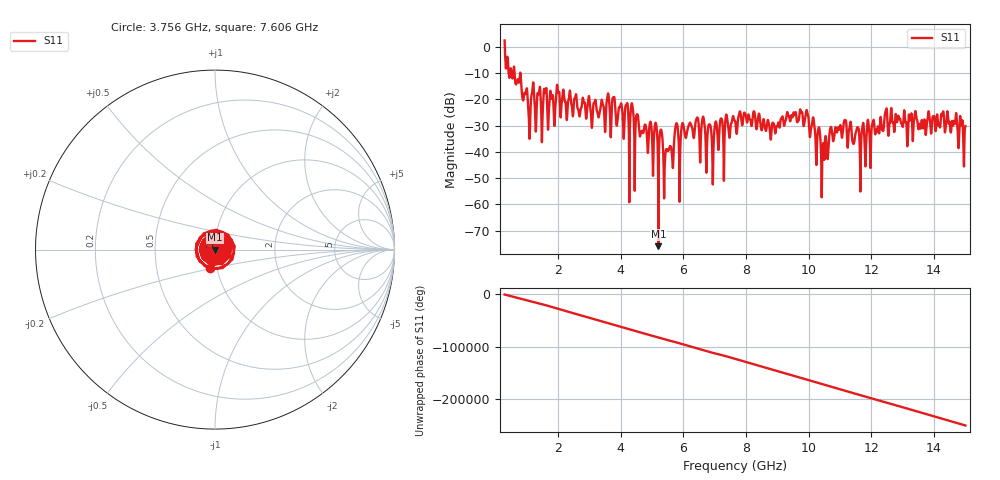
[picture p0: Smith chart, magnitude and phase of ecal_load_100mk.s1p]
# GHZ S RI R 50.0
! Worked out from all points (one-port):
!   12801 points, 300 MHz to 15 GHz, reference 50 ohm
!   lowest |S11| = -75.9 dB at 5.204 GHz (marker M1), VSWR 1.00, Z = 50 + j0.00914 ohm
!   |S11| at or under -10 dB: 426.3 MHz to 479.4 MHz (53.15 MHz wide, 11.7 % of centre); 615.8 MHz to 794.5 MHz (178.7 MHz wide, 25.3 % of centre); 804.7 MHz to end of sweep (the widest 3 of 4)
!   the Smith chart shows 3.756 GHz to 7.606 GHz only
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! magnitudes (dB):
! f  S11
! 300 MHz  2.5
! 1.092 GHz  -34.0
! 1.197 GHz  -15.3
! 1.312 GHz  -27.2
! 1.392 GHz  -17.9
! 1.514 GHz  -25.3
! 1.59 GHz  -17.5
! 2.138 GHz  -19.9
! 3.975 GHz  -23.0
! 5.204 GHz  -75.9
! 5.296 GHz  -31.6
! 5.435 GHz  -40.2
! 5.812 GHz  -30.0
! 6.435 GHz  -27.1
! 6.939 GHz  -50.8
! 7.204 GHz  -27.3
! 7.65 GHz  -28.1
! 8.81 GHz  -32.9
! 9.488 GHz  -26.7
! 9.941 GHz  -24.2
! 10.45 GHz  -38.7
! 10.71 GHz  -30.5
! 11.32 GHz  -29.2
! 11.64 GHz  -46.7
! 12.45 GHz  -24.6
! 13.16 GHz  -34.8
! 14.26 GHz  -26.1
! 15 GHz  -30.1
